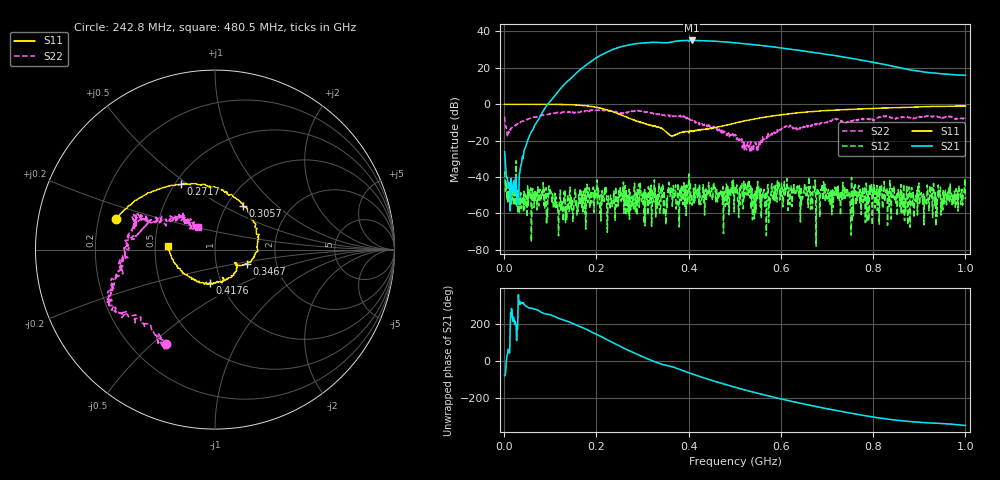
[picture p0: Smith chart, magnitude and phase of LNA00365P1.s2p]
! Created with skrf 1.9.0 (http://scikit-rf.org).
# Hz S RI R 50.0
!freq ReS11 ImS11 ReS21 ImS21 ReS12 ImS12 ReS22 ImS22
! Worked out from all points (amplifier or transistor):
!   1001 points, 1 MHz to 1 GHz, reference 50 ohm
!   highest |S21| = 35.1 dB at 406.6 MHz (marker M1)
!   |S21| within 3 dB of that: 260.7 MHz to 565.7 MHz (305 MHz wide, 73.8 % of centre)
!   unconditionally stable (mu >= 1): 6.388 MHz to 67.89 MHz; 325.7 MHz to 400.5 MHz; 400.7 MHz to end of sweep (the widest 3 of 36)
!   at 166.8 MHz: K = 1.66, MAG = 32.0 dB, |S12| = -54.1 dB
!   at 500.5 MHz: K = 2.03, MAG = 34.4 dB, |S12| = -46.5 dB
!   at 1 GHz: K = 4.97, MAG = 24.1 dB, |S12| = -52.0 dB
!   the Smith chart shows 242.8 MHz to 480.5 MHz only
!   S11 on the Smith chart (normalised r, x): 242.8 MHz: 0.28, +0.14; 271.7 MHz: 0.54, +0.47; 305.7 MHz: 1.19, +0.63; 346.7 MHz: 1.41, -0.24; 417.6 MHz: 0.88, -0.34; 480.5 MHz: 0.58, +0.02
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1000000  0.9969 0.00752  0.00905 -0.0488  -0.0113 0.00863  0.3184 0.3248
1.08892e8  0.5092 -0.8561  -0.7422 -1.484  0.00151 -0.000564  0.4506 -0.3494
1.67833e8  -0.2568 -0.8937  -9.6 -0.7908  0.00408 -0.000272  0.0644 -0.627
2.09791e8  -0.6886 -0.3603  -15.61 16.04  -0.000343 0.000515  -0.158 -0.6688
2.42758e8  -0.5489 0.1728  -0.9074 34.35  -0.00188 0.00123  -0.2758 -0.527
2.71729e8  -0.1882 0.3636  23.97 35.62  -0.000476 -0.000501  -0.4936 -0.3465
3.05695e8  0.157 0.2438  46.15 15.1  -0.000356 0.000285  -0.5643 -0.2318
3.34666e8  0.2362 0.00313  49.04 -9.333  -0.0036 0.00126  -0.5306 -0.0582
3.46654e8  0.1781 -0.0811  45.9 -16.92  0.00269 0.0031  -0.5011 -0.0348
3.75625e8  0.1202 -0.0911  41.41 -35.87  -0.000395 0.00173  -0.4486 0.1579
4.06594e8  0.0263 -0.1784  20.36 -52.84  0.00173 0.00127  -0.3275 0.1563
4.17583e8  -0.0297 -0.1852  11.24 -54.96  0.00353 0.000865  -0.2702 0.1573
4.45555e8  -0.1629 -0.1381  -10.46 -53.67  0.004 0.00135  -0.1727 0.1914
4.8052e8  -0.263 0.0191  -31.38 -40.93  0.00301 0.000943  -0.0962 0.1265
5.005e8  -0.2739 0.1261  -38.8 -30.12  -0.00384 0.00273  -0.0967 0.112
5.4046e8  -0.1959 0.335  -42.63 -8.227  -0.00126 -0.00277  -0.0516 -0.0246
5.88412e8  0.0185 0.4886  -34.83 12.24  0.00331 -0.00488  -0.126 -0.1016
6.28372e8  0.2097 0.5264  -23.58 21  0.000239 -0.00621  -0.1781 -0.1318
6.67333e8  0.3962 0.4864  -12.22 23.84  0.00183 -0.00143  -0.2536 -0.0621
7.53247e8  0.6705 0.2759  4.524 17.62  -0.00544 -0.00809  -0.3443 0.0168
8.34166e8  0.7921 0.0174  8.503 8.049  -0.00171 -0.00166  -0.4317 0.1133
1e9  0.7278 -0.5296  6.184 1.062  -0.00206 0.00141  -0.1379 0.3918
